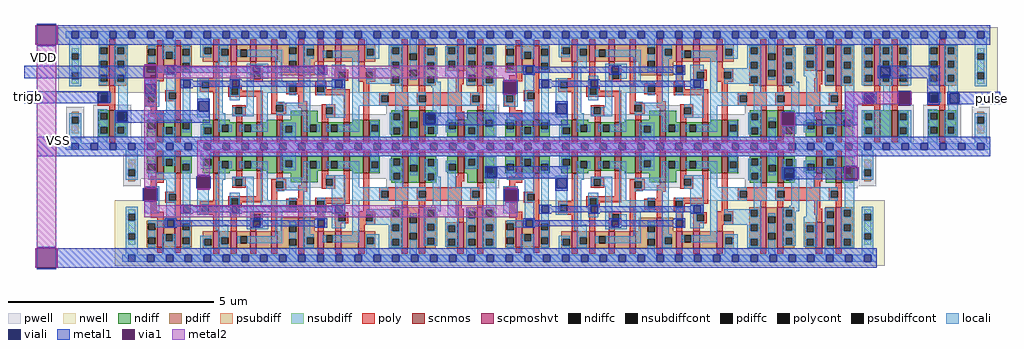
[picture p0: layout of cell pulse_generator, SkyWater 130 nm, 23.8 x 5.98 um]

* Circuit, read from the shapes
.subckt pulse_generator VDD VSS clk pulse trigb
XM1 sky130_fd_sc_hd__dfxbp_1_0/D trigb VSS VSS sky130_fd_pr__nfet_01v8 w=0.65 l=0.15
XM2 VSS clk n1 VSS sky130_fd_pr__nfet_01v8 w=0.42 l=0.15
XM3 VSS clk n2 VSS sky130_fd_pr__nfet_01v8 w=0.42 l=0.15
XM4 n3 n1 VSS VSS sky130_fd_pr__nfet_01v8 w=0.42 l=0.15
XM5 n4 n2 VSS VSS sky130_fd_pr__nfet_01v8 w=0.42 l=0.15
XM6 n5 sky130_fd_sc_hd__nand2_1_0/A VSS VSS sky130_fd_pr__nfet_01v8 w=0.42 l=0.15
XM7 n6 sky130_fd_sc_hd__dfxbp_1_0/D VSS VSS sky130_fd_pr__nfet_01v8 w=0.42 l=0.15
XM8 n7 n1 n5 VSS sky130_fd_pr__nfet_01v8 w=0.36 l=0.15
XM9 n8 n2 n6 VSS sky130_fd_pr__nfet_01v8 w=0.36 l=0.15
XM10 n9 n3 n7 VSS sky130_fd_pr__nfet_01v8 w=0.36 l=0.15
XM11 n10 n4 n8 VSS sky130_fd_pr__nfet_01v8 w=0.36 l=0.15
XM12 VSS n11 n9 VSS sky130_fd_pr__nfet_01v8 w=0.42 l=0.15
XM13 VSS n12 n10 VSS sky130_fd_pr__nfet_01v8 w=0.42 l=0.15
XM14 n11 n7 VSS VSS sky130_fd_pr__nfet_01v8 w=0.64 l=0.15
XM15 n12 n8 VSS VSS sky130_fd_pr__nfet_01v8 w=0.64 l=0.15
XM16 n13 n3 n11 VSS sky130_fd_pr__nfet_01v8 w=0.36 l=0.15
XM17 n14 n4 n12 VSS sky130_fd_pr__nfet_01v8 w=0.36 l=0.15
XM18 n15 n1 n13 VSS sky130_fd_pr__nfet_01v8 w=0.36 l=0.15
XM19 n16 n2 n14 VSS sky130_fd_pr__nfet_01v8 w=0.36 l=0.15
XM20 VSS n17 n15 VSS sky130_fd_pr__nfet_01v8 w=0.42 l=0.15
XM21 VSS n18 n16 VSS sky130_fd_pr__nfet_01v8 w=0.42 l=0.15
XM22 VSS n13 n17 VSS sky130_fd_pr__nfet_01v8 w=0.65 l=0.15
XM23 VSS n14 n18 VSS sky130_fd_pr__nfet_01v8 w=0.65 l=0.15
XM24 sky130_fd_sc_hd__dfxbp_1_2/Q n17 VSS VSS sky130_fd_pr__nfet_01v8 w=0.65 l=0.15
XM25 sky130_fd_sc_hd__dfxbp_1_1/D n18 VSS VSS sky130_fd_pr__nfet_01v8 w=0.65 l=0.15
XM26 VSS n17 n19 VSS sky130_fd_pr__nfet_01v8 w=0.42 l=0.15
XM27 VSS n18 n20 VSS sky130_fd_pr__nfet_01v8 w=0.42 l=0.15
XM28 sky130_fd_sc_hd__dfxbp_1_3/D n19 VSS VSS sky130_fd_pr__nfet_01v8 w=0.65 l=0.15
XM29 sky130_fd_sc_hd__dfxbp_1_0/Q_N n20 VSS VSS sky130_fd_pr__nfet_01v8 w=0.65 l=0.15
XM30 VSS clk n21 VSS sky130_fd_pr__nfet_01v8 w=0.42 l=0.15
XM31 VSS clk n22 VSS sky130_fd_pr__nfet_01v8 w=0.42 l=0.15
XM32 n23 n21 VSS VSS sky130_fd_pr__nfet_01v8 w=0.42 l=0.15
XM33 n24 n22 VSS VSS sky130_fd_pr__nfet_01v8 w=0.42 l=0.15
XM34 n25 sky130_fd_sc_hd__dfxbp_1_3/D VSS VSS sky130_fd_pr__nfet_01v8 w=0.42 l=0.15
XM35 n26 sky130_fd_sc_hd__dfxbp_1_1/D VSS VSS sky130_fd_pr__nfet_01v8 w=0.42 l=0.15
XM36 n27 n21 n25 VSS sky130_fd_pr__nfet_01v8 w=0.36 l=0.15
XM37 n28 n22 n26 VSS sky130_fd_pr__nfet_01v8 w=0.36 l=0.15
XM38 n29 n23 n27 VSS sky130_fd_pr__nfet_01v8 w=0.36 l=0.15
XM39 n30 n24 n28 VSS sky130_fd_pr__nfet_01v8 w=0.36 l=0.15
XM40 VSS n31 n29 VSS sky130_fd_pr__nfet_01v8 w=0.42 l=0.15
XM41 VSS n32 n30 VSS sky130_fd_pr__nfet_01v8 w=0.42 l=0.15
XM42 n31 n27 VSS VSS sky130_fd_pr__nfet_01v8 w=0.64 l=0.15
XM43 n32 n28 VSS VSS sky130_fd_pr__nfet_01v8 w=0.64 l=0.15
XM44 n33 n23 n31 VSS sky130_fd_pr__nfet_01v8 w=0.36 l=0.15
XM45 n34 n24 n32 VSS sky130_fd_pr__nfet_01v8 w=0.36 l=0.15
XM46 n35 n21 n33 VSS sky130_fd_pr__nfet_01v8 w=0.36 l=0.15
XM47 n36 n22 n34 VSS sky130_fd_pr__nfet_01v8 w=0.36 l=0.15
XM48 VSS n37 n35 VSS sky130_fd_pr__nfet_01v8 w=0.42 l=0.15
XM49 VSS n38 n36 VSS sky130_fd_pr__nfet_01v8 w=0.42 l=0.15
XM50 VSS n33 n37 VSS sky130_fd_pr__nfet_01v8 w=0.65 l=0.15
XM51 VSS n34 n38 VSS sky130_fd_pr__nfet_01v8 w=0.65 l=0.15
XM52 sky130_fd_sc_hd__nand2_1_0/B n37 VSS VSS sky130_fd_pr__nfet_01v8 w=0.65 l=0.15
XM53 sky130_fd_sc_hd__nand2_1_0/A n38 VSS VSS sky130_fd_pr__nfet_01v8 w=0.65 l=0.15
XM54 VSS n37 n39 VSS sky130_fd_pr__nfet_01v8 w=0.42 l=0.15
XM55 VSS n38 n40 VSS sky130_fd_pr__nfet_01v8 w=0.42 l=0.15
XM56 sky130_fd_sc_hd__dfxbp_1_3/Q_N n39 VSS VSS sky130_fd_pr__nfet_01v8 w=0.65 l=0.15
XM57 sky130_fd_sc_hd__dfxbp_1_1/Q_N n40 VSS VSS sky130_fd_pr__nfet_01v8 w=0.65 l=0.15
XM58 n41 sky130_fd_sc_hd__nand2_1_0/A sky130_fd_sc_hd__inv_1_1/A VSS sky130_fd_pr__nfet_01v8 w=0.65 l=0.15
XM59 VSS sky130_fd_sc_hd__nand2_1_0/B n41 VSS sky130_fd_pr__nfet_01v8 w=0.65 l=0.15
XM60 pulse sky130_fd_sc_hd__inv_1_1/A VSS VSS sky130_fd_pr__nfet_01v8 w=0.65 l=0.15
XM61 sky130_fd_sc_hd__dfxbp_1_0/D trigb VDD VDD sky130_fd_pr__pfet_01v8_hvt w=1 l=0.15
XM62 VDD clk n1 VDD sky130_fd_pr__pfet_01v8_hvt w=0.64 l=0.15
XM63 VDD clk n2 VDD sky130_fd_pr__pfet_01v8_hvt w=0.64 l=0.15
XM64 n3 n1 VDD VDD sky130_fd_pr__pfet_01v8_hvt w=0.64 l=0.15
XM65 n4 n2 VDD VDD sky130_fd_pr__pfet_01v8_hvt w=0.64 l=0.15
XM66 n5 sky130_fd_sc_hd__nand2_1_0/A VDD VDD sky130_fd_pr__pfet_01v8_hvt w=0.42 l=0.15
XM67 n6 sky130_fd_sc_hd__dfxbp_1_0/D VDD VDD sky130_fd_pr__pfet_01v8_hvt w=0.42 l=0.15
XM68 n7 n3 n5 VDD sky130_fd_pr__pfet_01v8_hvt w=0.42 l=0.15
XM69 n8 n4 n6 VDD sky130_fd_pr__pfet_01v8_hvt w=0.42 l=0.15
XM70 n42 n1 n7 VDD sky130_fd_pr__pfet_01v8_hvt w=0.42 l=0.15
XM71 n43 n2 n8 VDD sky130_fd_pr__pfet_01v8_hvt w=0.42 l=0.15
XM72 VDD n11 n42 VDD sky130_fd_pr__pfet_01v8_hvt w=0.42 l=0.15
XM73 VDD n12 n43 VDD sky130_fd_pr__pfet_01v8_hvt w=0.42 l=0.15
XM74 n11 n7 VDD VDD sky130_fd_pr__pfet_01v8_hvt w=0.75 l=0.15
XM75 n12 n8 VDD VDD sky130_fd_pr__pfet_01v8_hvt w=0.75 l=0.15
XM76 n13 n1 n11 VDD sky130_fd_pr__pfet_01v8_hvt w=0.42 l=0.15
XM77 n14 n2 n12 VDD sky130_fd_pr__pfet_01v8_hvt w=0.42 l=0.15
XM78 n44 n3 n13 VDD sky130_fd_pr__pfet_01v8_hvt w=0.42 l=0.15
XM79 n45 n4 n14 VDD sky130_fd_pr__pfet_01v8_hvt w=0.42 l=0.15
XM80 VDD n17 n44 VDD sky130_fd_pr__pfet_01v8_hvt w=0.42 l=0.15
XM81 VDD n18 n45 VDD sky130_fd_pr__pfet_01v8_hvt w=0.42 l=0.15
XM82 VDD n13 n17 VDD sky130_fd_pr__pfet_01v8_hvt w=1 l=0.15
XM83 VDD n14 n18 VDD sky130_fd_pr__pfet_01v8_hvt w=1 l=0.15
XM84 sky130_fd_sc_hd__dfxbp_1_2/Q n17 VDD VDD sky130_fd_pr__pfet_01v8_hvt w=1 l=0.15
XM85 sky130_fd_sc_hd__dfxbp_1_1/D n18 VDD VDD sky130_fd_pr__pfet_01v8_hvt w=1 l=0.15
XM86 VDD n17 n19 VDD sky130_fd_pr__pfet_01v8_hvt w=0.64 l=0.15
XM87 VDD n18 n20 VDD sky130_fd_pr__pfet_01v8_hvt w=0.64 l=0.15
XM88 sky130_fd_sc_hd__dfxbp_1_3/D n19 VDD VDD sky130_fd_pr__pfet_01v8_hvt w=1 l=0.15
XM89 sky130_fd_sc_hd__dfxbp_1_0/Q_N n20 VDD VDD sky130_fd_pr__pfet_01v8_hvt w=1 l=0.15
XM90 VDD clk n21 VDD sky130_fd_pr__pfet_01v8_hvt w=0.64 l=0.15
XM91 VDD clk n22 VDD sky130_fd_pr__pfet_01v8_hvt w=0.64 l=0.15
XM92 n23 n21 VDD VDD sky130_fd_pr__pfet_01v8_hvt w=0.64 l=0.15
XM93 n24 n22 VDD VDD sky130_fd_pr__pfet_01v8_hvt w=0.64 l=0.15
XM94 n25 sky130_fd_sc_hd__dfxbp_1_3/D VDD VDD sky130_fd_pr__pfet_01v8_hvt w=0.42 l=0.15
XM95 n26 sky130_fd_sc_hd__dfxbp_1_1/D VDD VDD sky130_fd_pr__pfet_01v8_hvt w=0.42 l=0.15
XM96 n27 n23 n25 VDD sky130_fd_pr__pfet_01v8_hvt w=0.42 l=0.15
XM97 n28 n24 n26 VDD sky130_fd_pr__pfet_01v8_hvt w=0.42 l=0.15
XM98 n46 n21 n27 VDD sky130_fd_pr__pfet_01v8_hvt w=0.42 l=0.15
XM99 n47 n22 n28 VDD sky130_fd_pr__pfet_01v8_hvt w=0.42 l=0.15
XM100 VDD n31 n46 VDD sky130_fd_pr__pfet_01v8_hvt w=0.42 l=0.15
XM101 VDD n32 n47 VDD sky130_fd_pr__pfet_01v8_hvt w=0.42 l=0.15
XM102 n31 n27 VDD VDD sky130_fd_pr__pfet_01v8_hvt w=0.75 l=0.15
XM103 n32 n28 VDD VDD sky130_fd_pr__pfet_01v8_hvt w=0.75 l=0.15
XM104 n33 n21 n31 VDD sky130_fd_pr__pfet_01v8_hvt w=0.42 l=0.15
XM105 n34 n22 n32 VDD sky130_fd_pr__pfet_01v8_hvt w=0.42 l=0.15
XM106 n48 n23 n33 VDD sky130_fd_pr__pfet_01v8_hvt w=0.42 l=0.15
XM107 n49 n24 n34 VDD sky130_fd_pr__pfet_01v8_hvt w=0.42 l=0.15
XM108 VDD n37 n48 VDD sky130_fd_pr__pfet_01v8_hvt w=0.42 l=0.15
XM109 VDD n38 n49 VDD sky130_fd_pr__pfet_01v8_hvt w=0.42 l=0.15
XM110 VDD n33 n37 VDD sky130_fd_pr__pfet_01v8_hvt w=1 l=0.15
XM111 VDD n34 n38 VDD sky130_fd_pr__pfet_01v8_hvt w=1 l=0.15
XM112 sky130_fd_sc_hd__nand2_1_0/B n37 VDD VDD sky130_fd_pr__pfet_01v8_hvt w=1 l=0.15
XM113 sky130_fd_sc_hd__nand2_1_0/A n38 VDD VDD sky130_fd_pr__pfet_01v8_hvt w=1 l=0.15
XM114 VDD n37 n39 VDD sky130_fd_pr__pfet_01v8_hvt w=0.64 l=0.15
XM115 VDD n38 n40 VDD sky130_fd_pr__pfet_01v8_hvt w=0.64 l=0.15
XM116 sky130_fd_sc_hd__dfxbp_1_3/Q_N n39 VDD VDD sky130_fd_pr__pfet_01v8_hvt w=1 l=0.15
XM117 sky130_fd_sc_hd__dfxbp_1_1/Q_N n40 VDD VDD sky130_fd_pr__pfet_01v8_hvt w=1 l=0.15
XM118 sky130_fd_sc_hd__inv_1_1/A sky130_fd_sc_hd__nand2_1_0/A VDD VDD sky130_fd_pr__pfet_01v8_hvt w=1 l=0.15
XM119 VDD sky130_fd_sc_hd__nand2_1_0/B sky130_fd_sc_hd__inv_1_1/A VDD sky130_fd_pr__pfet_01v8_hvt w=1 l=0.15
XM120 pulse sky130_fd_sc_hd__inv_1_1/A VDD VDD sky130_fd_pr__pfet_01v8_hvt w=1 l=0.15
.ends

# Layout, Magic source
magic
tech sky130A
<< viali >>
rect 2052 206 2076 230
rect 144 144 168 168
rect 260 164 284 188
rect 1137 168 1161 192
rect 390 122 414 146
rect 2013 142 2037 166
rect 2099 142 2123 166
rect 2170 144 2194 168
rect 2221 142 2245 166
rect 192 97 216 121
rect 1263 116 1287 140
rect 943 91 967 115
rect 1817 91 1841 115
rect 1093 -39 1117 -15
rect 390 -63 414 -39
rect 1818 -41 1842 -17
rect 1263 -66 1287 -42
rect 260 -93 284 -69
rect 1140 -95 1164 -71
<< metal1 >>
rect -5 332 43 335
rect 43 284 66 332
rect -5 281 43 284
rect -36 203 257 233
rect 287 203 290 233
rect 2046 230 2197 233
rect 2046 206 2052 230
rect 2076 206 2197 230
rect 2046 203 2197 206
rect 257 188 287 203
rect 1134 195 1164 198
rect -36 168 174 171
rect -36 144 144 168
rect 168 144 174 168
rect 257 164 260 188
rect 284 164 287 188
rect 1131 165 1134 195
rect 1164 165 1167 195
rect 2096 169 2126 172
rect 1967 166 2043 169
rect 257 158 287 164
rect 1134 162 1164 165
rect -36 141 174 144
rect 387 146 417 152
rect 387 124 390 146
rect 186 122 390 124
rect 414 122 417 146
rect 186 121 417 122
rect 186 97 192 121
rect 216 97 417 121
rect 1260 140 1290 146
rect 1260 118 1263 140
rect 186 94 417 97
rect 937 116 1263 118
rect 1287 116 1290 140
rect 1967 142 2013 166
rect 2037 142 2043 166
rect 1967 139 2043 142
rect 2093 139 2096 169
rect 2126 139 2129 169
rect 2167 168 2197 203
rect 2167 144 2170 168
rect 2194 144 2197 168
rect 1812 118 1842 121
rect 1967 118 1997 139
rect 2096 136 2126 139
rect 2167 138 2197 144
rect 2215 166 2344 169
rect 2215 142 2221 166
rect 2245 142 2344 166
rect 2215 139 2344 142
rect 937 115 1290 116
rect 937 91 943 115
rect 967 91 1290 115
rect 937 88 1290 91
rect 1811 88 1812 118
rect 1842 88 1997 118
rect 1812 85 1842 88
rect -5 12 116 60
rect 1087 -15 1290 -12
rect 1967 -14 1997 -11
rect 387 -36 417 -33
rect 257 -66 287 -63
rect 384 -66 387 -36
rect 417 -66 420 -36
rect 1087 -39 1093 -15
rect 1117 -39 1290 -15
rect 1087 -42 1290 -39
rect 254 -96 257 -66
rect 287 -96 290 -66
rect 387 -69 417 -66
rect 1137 -68 1167 -65
rect 1260 -66 1263 -42
rect 1287 -66 1290 -42
rect 1812 -17 1967 -14
rect 1812 -41 1818 -17
rect 1842 -41 1967 -17
rect 1812 -44 1967 -41
rect 1967 -47 1997 -44
rect 257 -99 287 -96
rect 1134 -98 1137 -68
rect 1167 -98 1170 -68
rect 1260 -72 1290 -66
rect 1137 -101 1167 -98
rect -5 -212 43 -209
rect 43 -260 240 -212
rect -5 -263 43 -260
<< via1 >>
rect -5 284 43 332
rect 257 203 287 233
rect 1134 192 1164 195
rect 1134 168 1137 192
rect 1137 168 1161 192
rect 1161 168 1164 192
rect 1134 165 1164 168
rect 2096 166 2126 169
rect 2096 142 2099 166
rect 2099 142 2123 166
rect 2123 142 2126 166
rect 2096 139 2126 142
rect 1812 115 1842 118
rect 1812 91 1817 115
rect 1817 91 1841 115
rect 1841 91 1842 115
rect 1812 88 1842 91
rect 387 -39 417 -36
rect 387 -63 390 -39
rect 390 -63 414 -39
rect 414 -63 417 -39
rect 387 -66 417 -63
rect 257 -69 287 -66
rect 257 -93 260 -69
rect 260 -93 284 -69
rect 284 -93 287 -69
rect 257 -96 287 -93
rect 1967 -44 1997 -14
rect 1137 -71 1167 -68
rect 1137 -95 1140 -71
rect 1140 -95 1164 -71
rect 1164 -95 1167 -71
rect 1137 -98 1167 -95
rect -5 -260 43 -212
<< metal2 >>
rect -8 284 -5 332
rect 43 284 46 332
rect -5 -212 43 284
rect 257 233 287 236
rect 255 203 257 233
rect 287 203 1166 233
rect 257 -66 287 203
rect 1134 195 1164 203
rect 1134 162 1164 165
rect 1967 139 2096 169
rect 2126 139 2129 169
rect 1809 88 1812 118
rect 1842 88 1845 118
rect 1812 51 1842 88
rect 387 21 1842 51
rect 387 -36 417 21
rect 1967 -14 1997 139
rect 1964 -44 1967 -14
rect 1997 -44 2000 -14
rect 387 -69 417 -66
rect 1137 -68 1167 -65
rect 257 -107 287 -96
rect 1137 -107 1167 -98
rect 257 -137 1167 -107
rect -8 -260 -5 -212
rect 43 -260 46 -212
use sky130_fd_sc_hd__inv_1  sky130_fd_sc_hd__inv_1_0 ~/PDKS/sky130A/libs.ref/sky130_fd_sc_hd/mag
transform 1 0 112 0 1 36
box -19 -24 157 296
use sky130_fd_sc_hd__tapvpwrvgnd_1  sky130_fd_sc_hd__tapvpwrvgnd_1_1 ~/PDKS/sky130A/libs.ref/sky130_fd_sc_hd/mag
transform 1 0 204 0 -1 36
box -19 -24 65 296
use sky130_fd_sc_hd__tapvpwrvgnd_1  sky130_fd_sc_hd__tapvpwrvgnd_1_2
transform 1 0 66 0 1 36
box -19 -24 65 296
use sky130_fd_sc_hd__dfxbp_1  sky130_fd_sc_hd__dfxbp_1_2 ~/PDKS/sky130A/libs.ref/sky130_fd_sc_hd/mag
transform 1 0 250 0 -1 36
box -19 -24 893 296
use sky130_fd_sc_hd__dfxbp_1  sky130_fd_sc_hd__dfxbp_1_0
transform 1 0 250 0 1 36
box -19 -24 893 296
use sky130_fd_sc_hd__dfxbp_1  sky130_fd_sc_hd__dfxbp_1_3
transform 1 0 1124 0 -1 36
box -19 -24 893 296
use sky130_fd_sc_hd__dfxbp_1  sky130_fd_sc_hd__dfxbp_1_1
transform 1 0 1124 0 1 36
box -19 -24 893 296
use sky130_fd_sc_hd__inv_1  sky130_fd_sc_hd__inv_1_1
transform 1 0 2136 0 1 36
box -19 -24 157 296
use sky130_fd_sc_hd__nand2_1  sky130_fd_sc_hd__nand2_1_0 ~/PDKS/sky130A/libs.ref/sky130_fd_sc_hd/mag
transform -1 0 2136 0 1 36
box -19 -24 157 296
use sky130_fd_sc_hd__tapvpwrvgnd_1  sky130_fd_sc_hd__tapvpwrvgnd_1_0
transform 1 0 1998 0 -1 36
box -19 -24 65 296
use sky130_fd_sc_hd__tapvpwrvgnd_1  sky130_fd_sc_hd__tapvpwrvgnd_1_3
transform 1 0 2274 0 1 36
box -19 -24 65 296
<< labels >>
flabel metal2 10 251 13 253 1 FreeSans 240 0 0 0 VDD
flabel metal1 47 50 48 52 1 FreeSans 240 0 0 0 VSS
flabel metal1 -26 155 -22 159 1 FreeSans 240 0 0 0 trigb
flabel metal1 -26 217 -21 221 1 FreeSans 240 0 0 0 clk
flabel metal1 2322 152 2325 154 1 FreeSans 240 0 0 0 pulse
<< end >>

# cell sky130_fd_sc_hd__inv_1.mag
magic
tech sky130A
magscale 1 2
<< nwell >>
rect -38 261 314 582
<< pwell >>
rect 42 21 228 203
rect 42 17 63 21
rect 29 -17 63 17
<< scnmos >>
rect 120 47 150 177
<< scpmoshvt >>
rect 120 297 150 497
<< ndiff >>
rect 68 165 120 177
rect 68 131 76 165
rect 110 131 120 165
rect 68 97 120 131
rect 68 63 76 97
rect 110 63 120 97
rect 68 47 120 63
rect 150 165 202 177
rect 150 131 160 165
rect 194 131 202 165
rect 150 97 202 131
rect 150 63 160 97
rect 194 63 202 97
rect 150 47 202 63
<< pdiff >>
rect 68 485 120 497
rect 68 451 76 485
rect 110 451 120 485
rect 68 417 120 451
rect 68 383 76 417
rect 110 383 120 417
rect 68 349 120 383
rect 68 315 76 349
rect 110 315 120 349
rect 68 297 120 315
rect 150 485 202 497
rect 150 451 160 485
rect 194 451 202 485
rect 150 417 202 451
rect 150 383 160 417
rect 194 383 202 417
rect 150 349 202 383
rect 150 315 160 349
rect 194 315 202 349
rect 150 297 202 315
<< ndiffc >>
rect 76 131 110 165
rect 76 63 110 97
rect 160 131 194 165
rect 160 63 194 97
<< pdiffc >>
rect 76 451 110 485
rect 76 383 110 417
rect 76 315 110 349
rect 160 451 194 485
rect 160 383 194 417
rect 160 315 194 349
<< poly >>
rect 120 497 150 523
rect 120 265 150 297
rect 64 249 150 265
rect 64 215 80 249
rect 114 215 150 249
rect 64 199 150 215
rect 120 177 150 199
rect 120 21 150 47
<< polycont >>
rect 80 215 114 249
<< locali >>
rect 0 527 29 561
rect 63 527 121 561
rect 155 527 213 561
rect 247 527 276 561
rect 68 485 110 527
rect 68 451 76 485
rect 68 417 110 451
rect 68 383 76 417
rect 68 349 110 383
rect 68 315 76 349
rect 68 299 110 315
rect 144 485 210 493
rect 144 451 160 485
rect 194 451 210 485
rect 144 417 210 451
rect 144 383 160 417
rect 194 383 210 417
rect 144 349 210 383
rect 144 315 160 349
rect 194 315 210 349
rect 144 297 210 315
rect 64 249 130 263
rect 64 215 80 249
rect 114 215 130 249
rect 64 165 110 181
rect 164 177 210 297
rect 64 131 76 165
rect 64 97 110 131
rect 64 63 76 97
rect 64 17 110 63
rect 144 165 210 177
rect 144 131 160 165
rect 194 131 210 165
rect 144 97 210 131
rect 144 63 160 97
rect 194 63 210 97
rect 144 51 210 63
rect 0 -17 29 17
rect 63 -17 121 17
rect 155 -17 213 17
rect 247 -17 276 17
<< viali >>
rect 29 527 63 561
rect 121 527 155 561
rect 213 527 247 561
rect 29 -17 63 17
rect 121 -17 155 17
rect 213 -17 247 17
<< metal1 >>
rect 0 561 276 592
rect 0 527 29 561
rect 63 527 121 561
rect 155 527 213 561
rect 247 527 276 561
rect 0 496 276 527
rect 0 17 276 48
rect 0 -17 29 17
rect 63 -17 121 17
rect 155 -17 213 17
rect 247 -17 276 17
rect 0 -48 276 -17
<< labels >>
flabel locali s 164 289 198 323 0 FreeSans 340 0 0 0 Y
port 6 nsew signal output
flabel locali s 164 221 198 255 0 FreeSans 340 0 0 0 Y
port 6 nsew signal output
flabel locali s 72 221 106 255 0 FreeSans 340 0 0 0 A
port 1 nsew signal input
flabel nwell s 29 527 63 561 0 FreeSans 200 0 0 0 VPB
port 4 nsew power bidirectional
flabel pwell s 29 -17 63 17 0 FreeSans 200 0 0 0 VNB
port 3 nsew ground bidirectional
flabel metal1 s 29 -17 63 17 0 FreeSans 200 0 0 0 VGND
port 2 nsew ground bidirectional abutment
flabel metal1 s 29 527 63 561 0 FreeSans 200 0 0 0 VPWR
port 5 nsew power bidirectional abutment
rlabel comment s 0 0 0 0 4 inv_1
<< properties >>
string LEFsite unithd
string LEFclass CORE
string FIXED_BBOX 0 0 276 544
string GDS_FILE $PDKPATH/libs.ref/sky130_fd_sc_hd/gds/sky130_fd_sc_hd.gds
string LEFsymmetry X Y R90
string GDS_END 27172
string GDS_START 23678
string path 0.000 0.000 1.380 0.000 
<< end >>

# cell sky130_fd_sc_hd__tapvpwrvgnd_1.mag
magic
tech sky130A
magscale 1 2
<< nwell >>
rect -38 261 130 582
<< pwell >>
rect 3 38 89 195
<< psubdiff >>
rect 29 145 63 169
rect 29 64 63 111
<< nsubdiff >>
rect 29 456 63 480
rect 29 363 63 422
rect 29 305 63 329
<< psubdiffcont >>
rect 29 111 63 145
<< nsubdiffcont >>
rect 29 422 63 456
rect 29 329 63 363
<< locali >>
rect 0 527 29 561
rect 63 527 92 561
rect 17 456 75 527
rect 17 422 29 456
rect 63 422 75 456
rect 17 363 75 422
rect 17 329 29 363
rect 63 329 75 363
rect 17 294 75 329
rect 17 145 75 162
rect 17 111 29 145
rect 63 111 75 145
rect 17 17 75 111
rect 0 -17 29 17
rect 63 -17 92 17
<< viali >>
rect 29 527 63 561
rect 29 -17 63 17
<< metal1 >>
rect 0 561 92 592
rect 0 527 29 561
rect 63 527 92 561
rect 0 496 92 527
rect 0 17 92 48
rect 0 -17 29 17
rect 63 -17 92 17
rect 0 -48 92 -17
<< labels >>
flabel metal1 s 22 524 75 553 0 FreeSans 200 0 0 0 VPWR
port 2 nsew power bidirectional abutment
flabel metal1 s 21 -18 72 20 0 FreeSans 200 0 0 0 VGND
port 1 nsew ground bidirectional abutment
rlabel comment s 0 0 0 0 4 tapvpwrvgnd_1
<< properties >>
string LEFsite unithd
string LEFclass CORE WELLTAP
string FIXED_BBOX 0 0 92 544
string GDS_FILE $PDKPATH/libs.ref/sky130_fd_sc_hd/gds/sky130_fd_sc_hd.gds
string LEFsymmetry X Y R90
string GDS_END 65542
string GDS_START 63922
string MASKHINTS_PSDM 0 38 92 196
string MASKHINTS_NSDM 0 280 92 506
<< end >>

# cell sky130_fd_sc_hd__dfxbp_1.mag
magic
tech sky130A
magscale 1 2
<< nwell >>
rect -38 261 1786 582
<< pwell >>
rect 704 157 886 201
rect 1194 157 1747 203
rect 1 21 1747 157
rect 29 -17 63 21
<< scnmos >>
rect 79 47 109 131
rect 163 47 193 131
rect 351 47 381 131
rect 463 47 493 119
rect 562 47 592 119
rect 661 47 691 131
rect 780 47 810 175
rect 881 47 911 119
rect 987 47 1017 119
rect 1082 47 1112 131
rect 1272 47 1302 177
rect 1356 47 1386 177
rect 1544 47 1574 131
rect 1639 47 1669 177
<< scpmoshvt >>
rect 79 363 109 491
rect 163 363 193 491
rect 351 413 381 497
rect 436 413 466 497
rect 531 413 561 497
rect 634 413 664 497
rect 766 347 796 497
rect 861 413 891 497
rect 945 413 975 497
rect 1059 413 1089 497
rect 1270 297 1300 497
rect 1354 297 1384 497
rect 1542 369 1572 497
rect 1639 297 1669 497
<< ndiff >>
rect 27 119 79 131
rect 27 85 35 119
rect 69 85 79 119
rect 27 47 79 85
rect 109 93 163 131
rect 109 59 119 93
rect 153 59 163 93
rect 109 47 163 59
rect 193 119 245 131
rect 193 85 203 119
rect 237 85 245 119
rect 193 47 245 85
rect 299 93 351 131
rect 299 59 307 93
rect 341 59 351 93
rect 299 47 351 59
rect 381 119 431 131
rect 730 131 780 175
rect 611 119 661 131
rect 381 107 463 119
rect 381 73 392 107
rect 426 73 463 107
rect 381 47 463 73
rect 493 107 562 119
rect 493 73 503 107
rect 537 73 562 107
rect 493 47 562 73
rect 592 47 661 119
rect 691 101 780 131
rect 691 67 702 101
rect 736 67 780 101
rect 691 47 780 67
rect 810 119 860 175
rect 1220 162 1272 177
rect 1032 119 1082 131
rect 810 107 881 119
rect 810 73 821 107
rect 855 73 881 107
rect 810 47 881 73
rect 911 107 987 119
rect 911 73 924 107
rect 958 73 987 107
rect 911 47 987 73
rect 1017 47 1082 119
rect 1112 107 1164 131
rect 1112 73 1122 107
rect 1156 73 1164 107
rect 1112 47 1164 73
rect 1220 128 1228 162
rect 1262 128 1272 162
rect 1220 94 1272 128
rect 1220 60 1228 94
rect 1262 60 1272 94
rect 1220 47 1272 60
rect 1302 123 1356 177
rect 1302 89 1312 123
rect 1346 89 1356 123
rect 1302 47 1356 89
rect 1386 164 1438 177
rect 1386 130 1396 164
rect 1430 130 1438 164
rect 1589 131 1639 177
rect 1386 96 1438 130
rect 1386 62 1396 96
rect 1430 62 1438 96
rect 1386 47 1438 62
rect 1492 119 1544 131
rect 1492 85 1500 119
rect 1534 85 1544 119
rect 1492 47 1544 85
rect 1574 93 1639 131
rect 1574 59 1595 93
rect 1629 59 1639 93
rect 1574 47 1639 59
rect 1669 131 1721 177
rect 1669 97 1679 131
rect 1713 97 1721 131
rect 1669 47 1721 97
<< pdiff >>
rect 27 477 79 491
rect 27 443 35 477
rect 69 443 79 477
rect 27 409 79 443
rect 27 375 35 409
rect 69 375 79 409
rect 27 363 79 375
rect 109 461 163 491
rect 109 427 119 461
rect 153 427 163 461
rect 109 363 163 427
rect 193 477 245 491
rect 193 443 203 477
rect 237 443 245 477
rect 193 409 245 443
rect 299 485 351 497
rect 299 451 307 485
rect 341 451 351 485
rect 299 413 351 451
rect 381 477 436 497
rect 381 443 391 477
rect 425 443 436 477
rect 381 413 436 443
rect 466 472 531 497
rect 466 438 483 472
rect 517 438 531 472
rect 466 413 531 438
rect 561 413 634 497
rect 664 485 766 497
rect 664 451 722 485
rect 756 451 766 485
rect 664 417 766 451
rect 664 413 722 417
rect 193 375 203 409
rect 237 375 245 409
rect 193 363 245 375
rect 679 383 722 413
rect 756 383 766 417
rect 679 347 766 383
rect 796 477 861 497
rect 796 443 806 477
rect 840 443 861 477
rect 796 413 861 443
rect 891 467 945 497
rect 891 433 901 467
rect 935 433 945 467
rect 891 413 945 433
rect 975 413 1059 497
rect 1089 477 1142 497
rect 1089 443 1100 477
rect 1134 443 1142 477
rect 1089 413 1142 443
rect 1216 485 1270 497
rect 1216 451 1224 485
rect 1258 451 1270 485
rect 1216 414 1270 451
rect 796 347 846 413
rect 1216 380 1224 414
rect 1258 380 1270 414
rect 1216 343 1270 380
rect 1216 309 1224 343
rect 1258 309 1270 343
rect 1216 297 1270 309
rect 1300 455 1354 497
rect 1300 421 1310 455
rect 1344 421 1354 455
rect 1300 375 1354 421
rect 1300 341 1310 375
rect 1344 341 1354 375
rect 1300 297 1354 341
rect 1384 479 1436 497
rect 1384 445 1394 479
rect 1428 445 1436 479
rect 1384 411 1436 445
rect 1384 377 1394 411
rect 1428 377 1436 411
rect 1384 343 1436 377
rect 1490 485 1542 497
rect 1490 451 1498 485
rect 1532 451 1542 485
rect 1490 417 1542 451
rect 1490 383 1498 417
rect 1532 383 1542 417
rect 1490 369 1542 383
rect 1572 485 1639 497
rect 1572 451 1595 485
rect 1629 451 1639 485
rect 1572 417 1639 451
rect 1572 383 1595 417
rect 1629 383 1639 417
rect 1572 369 1639 383
rect 1384 309 1394 343
rect 1428 309 1436 343
rect 1384 297 1436 309
rect 1587 349 1639 369
rect 1587 315 1595 349
rect 1629 315 1639 349
rect 1587 297 1639 315
rect 1669 485 1721 497
rect 1669 451 1679 485
rect 1713 451 1721 485
rect 1669 414 1721 451
rect 1669 380 1679 414
rect 1713 380 1721 414
rect 1669 343 1721 380
rect 1669 309 1679 343
rect 1713 309 1721 343
rect 1669 297 1721 309
<< ndiffc >>
rect 35 85 69 119
rect 119 59 153 93
rect 203 85 237 119
rect 307 59 341 93
rect 392 73 426 107
rect 503 73 537 107
rect 702 67 736 101
rect 821 73 855 107
rect 924 73 958 107
rect 1122 73 1156 107
rect 1228 128 1262 162
rect 1228 60 1262 94
rect 1312 89 1346 123
rect 1396 130 1430 164
rect 1396 62 1430 96
rect 1500 85 1534 119
rect 1595 59 1629 93
rect 1679 97 1713 131
<< pdiffc >>
rect 35 443 69 477
rect 35 375 69 409
rect 119 427 153 461
rect 203 443 237 477
rect 307 451 341 485
rect 391 443 425 477
rect 483 438 517 472
rect 722 451 756 485
rect 203 375 237 409
rect 722 383 756 417
rect 806 443 840 477
rect 901 433 935 467
rect 1100 443 1134 477
rect 1224 451 1258 485
rect 1224 380 1258 414
rect 1224 309 1258 343
rect 1310 421 1344 455
rect 1310 341 1344 375
rect 1394 445 1428 479
rect 1394 377 1428 411
rect 1498 451 1532 485
rect 1498 383 1532 417
rect 1595 451 1629 485
rect 1595 383 1629 417
rect 1394 309 1428 343
rect 1595 315 1629 349
rect 1679 451 1713 485
rect 1679 380 1713 414
rect 1679 309 1713 343
<< poly >>
rect 79 491 109 517
rect 163 491 193 517
rect 351 497 381 523
rect 436 497 466 523
rect 531 497 561 523
rect 634 497 664 523
rect 766 497 796 523
rect 861 497 891 523
rect 945 497 975 523
rect 1059 497 1089 523
rect 1270 497 1300 523
rect 1354 497 1384 523
rect 1542 497 1572 523
rect 1639 497 1669 523
rect 79 348 109 363
rect 46 318 109 348
rect 46 265 76 318
rect 163 274 193 363
rect 351 333 381 413
rect 22 249 76 265
rect 22 215 32 249
rect 66 215 76 249
rect 118 264 193 274
rect 286 317 381 333
rect 286 283 296 317
rect 330 283 381 317
rect 436 297 466 413
rect 531 381 561 413
rect 531 365 592 381
rect 531 331 548 365
rect 582 331 592 365
rect 531 315 592 331
rect 286 267 381 283
rect 118 230 134 264
rect 168 230 193 264
rect 118 220 193 230
rect 22 199 76 215
rect 46 176 76 199
rect 46 146 109 176
rect 79 131 109 146
rect 163 131 193 220
rect 351 131 381 267
rect 423 287 489 297
rect 423 253 439 287
rect 473 273 489 287
rect 473 253 592 273
rect 423 243 592 253
rect 443 191 509 201
rect 443 157 459 191
rect 493 157 509 191
rect 443 147 509 157
rect 463 119 493 147
rect 562 119 592 243
rect 634 213 664 413
rect 766 309 796 347
rect 861 315 891 413
rect 945 375 975 413
rect 1059 381 1089 413
rect 944 365 1010 375
rect 944 331 960 365
rect 994 331 1010 365
rect 944 321 1010 331
rect 1059 365 1140 381
rect 1059 331 1096 365
rect 1130 331 1140 365
rect 1059 315 1140 331
rect 706 299 796 309
rect 706 265 722 299
rect 756 265 796 299
rect 706 255 796 265
rect 766 220 796 255
rect 848 299 902 315
rect 848 265 858 299
rect 892 279 902 299
rect 892 265 1017 279
rect 848 249 1017 265
rect 634 203 708 213
rect 634 169 658 203
rect 692 169 708 203
rect 766 190 810 220
rect 780 175 810 190
rect 881 191 945 207
rect 634 159 708 169
rect 661 131 691 159
rect 881 157 901 191
rect 935 157 945 191
rect 881 141 945 157
rect 881 119 911 141
rect 987 119 1017 249
rect 1082 131 1112 315
rect 1542 333 1572 369
rect 1533 303 1572 333
rect 1270 265 1300 297
rect 1354 265 1384 297
rect 1533 265 1563 303
rect 1639 265 1669 297
rect 1160 249 1302 265
rect 1160 215 1170 249
rect 1204 215 1302 249
rect 1160 199 1302 215
rect 1344 249 1563 265
rect 1344 215 1354 249
rect 1388 215 1563 249
rect 1344 199 1563 215
rect 1605 249 1669 265
rect 1605 215 1615 249
rect 1649 215 1669 249
rect 1605 199 1669 215
rect 1272 177 1302 199
rect 1356 177 1386 199
rect 1533 170 1563 199
rect 1639 177 1669 199
rect 1533 146 1574 170
rect 1544 131 1574 146
rect 79 21 109 47
rect 163 21 193 47
rect 351 21 381 47
rect 463 21 493 47
rect 562 21 592 47
rect 661 21 691 47
rect 780 21 810 47
rect 881 21 911 47
rect 987 21 1017 47
rect 1082 21 1112 47
rect 1272 21 1302 47
rect 1356 21 1386 47
rect 1544 21 1574 47
rect 1639 21 1669 47
<< polycont >>
rect 32 215 66 249
rect 296 283 330 317
rect 548 331 582 365
rect 134 230 168 264
rect 439 253 473 287
rect 459 157 493 191
rect 960 331 994 365
rect 1096 331 1130 365
rect 722 265 756 299
rect 858 265 892 299
rect 658 169 692 203
rect 901 157 935 191
rect 1170 215 1204 249
rect 1354 215 1388 249
rect 1615 215 1649 249
<< locali >>
rect 0 527 29 561
rect 63 527 121 561
rect 155 527 213 561
rect 247 527 305 561
rect 339 527 397 561
rect 431 527 489 561
rect 523 527 581 561
rect 615 527 673 561
rect 707 527 765 561
rect 799 527 857 561
rect 891 527 949 561
rect 983 527 1041 561
rect 1075 527 1133 561
rect 1167 527 1225 561
rect 1259 527 1317 561
rect 1351 527 1409 561
rect 1443 527 1501 561
rect 1535 527 1593 561
rect 1627 527 1685 561
rect 1719 527 1748 561
rect 35 477 69 493
rect 35 409 69 443
rect 103 461 169 527
rect 103 427 119 461
rect 153 427 169 461
rect 203 477 240 493
rect 237 443 240 477
rect 203 409 240 443
rect 288 485 341 527
rect 288 451 307 485
rect 288 435 341 451
rect 375 477 425 493
rect 375 443 391 477
rect 722 485 756 527
rect 69 391 168 393
rect 69 375 126 391
rect 35 359 126 375
rect 122 357 126 359
rect 160 357 168 391
rect 18 249 88 325
rect 18 215 32 249
rect 66 215 88 249
rect 18 195 88 215
rect 122 264 168 357
rect 122 230 134 264
rect 122 161 168 230
rect 35 127 168 161
rect 237 375 240 409
rect 375 408 425 443
rect 467 438 483 472
rect 517 438 688 472
rect 203 323 240 375
rect 364 382 425 408
rect 514 391 620 404
rect 203 289 205 323
rect 239 289 240 323
rect 35 119 69 127
rect 203 119 240 289
rect 274 317 330 333
rect 274 283 296 317
rect 274 143 330 283
rect 364 161 398 382
rect 514 357 546 391
rect 580 365 620 391
rect 432 323 480 344
rect 432 289 443 323
rect 477 289 480 323
rect 432 287 480 289
rect 432 253 439 287
rect 473 253 480 287
rect 432 225 480 253
rect 514 191 548 357
rect 582 331 620 365
rect 654 315 688 438
rect 722 417 756 451
rect 722 367 756 383
rect 790 477 840 493
rect 790 443 806 477
rect 1098 477 1161 527
rect 790 427 840 443
rect 885 433 901 467
rect 935 433 1062 467
rect 654 299 756 315
rect 654 297 722 299
rect 364 135 409 161
rect 443 157 459 191
rect 493 157 548 191
rect 443 147 548 157
rect 582 265 722 297
rect 582 263 756 265
rect 35 69 69 85
rect 103 59 119 93
rect 153 59 169 93
rect 237 85 240 119
rect 203 69 240 85
rect 291 93 341 109
rect 103 17 169 59
rect 291 59 307 93
rect 375 107 409 135
rect 582 107 616 263
rect 722 249 756 263
rect 658 213 698 219
rect 790 213 824 427
rect 858 391 896 393
rect 858 357 860 391
rect 894 357 896 391
rect 858 299 896 357
rect 892 265 896 299
rect 858 249 896 265
rect 930 365 994 399
rect 930 331 960 365
rect 930 323 994 331
rect 930 289 947 323
rect 981 289 994 323
rect 658 203 824 213
rect 930 207 994 289
rect 692 169 824 203
rect 658 153 824 169
rect 375 73 392 107
rect 426 73 442 107
rect 481 73 503 107
rect 537 73 616 107
rect 680 101 754 117
rect 291 17 341 59
rect 680 67 702 101
rect 736 67 754 101
rect 790 107 824 153
rect 901 191 994 207
rect 935 157 994 191
rect 901 141 994 157
rect 1028 265 1062 433
rect 1098 443 1100 477
rect 1134 443 1161 477
rect 1098 427 1161 443
rect 1208 485 1276 493
rect 1208 451 1224 485
rect 1258 451 1276 485
rect 1208 414 1276 451
rect 1208 381 1224 414
rect 1096 380 1224 381
rect 1258 380 1276 414
rect 1096 365 1276 380
rect 1130 343 1276 365
rect 1130 331 1224 343
rect 1096 309 1224 331
rect 1258 309 1276 343
rect 1310 455 1344 527
rect 1482 485 1548 489
rect 1310 375 1344 421
rect 1310 325 1344 341
rect 1378 479 1444 484
rect 1378 445 1394 479
rect 1428 445 1444 479
rect 1378 411 1444 445
rect 1378 377 1394 411
rect 1428 377 1444 411
rect 1378 343 1444 377
rect 1482 451 1498 485
rect 1532 451 1548 485
rect 1482 417 1548 451
rect 1482 383 1498 417
rect 1532 383 1548 417
rect 1482 343 1548 383
rect 1096 306 1276 309
rect 1238 265 1276 306
rect 1378 309 1394 343
rect 1428 315 1444 343
rect 1428 309 1460 315
rect 1378 299 1460 309
rect 1413 289 1460 299
rect 1028 249 1204 265
rect 1028 215 1170 249
rect 1028 199 1204 215
rect 1238 249 1388 265
rect 1238 215 1354 249
rect 1238 199 1388 215
rect 1028 107 1062 199
rect 1238 165 1278 199
rect 1422 173 1460 289
rect 1411 165 1460 173
rect 1212 162 1278 165
rect 1212 128 1228 162
rect 1262 128 1278 162
rect 1380 164 1460 165
rect 790 73 821 107
rect 855 73 871 107
rect 905 73 924 107
rect 958 73 1062 107
rect 1117 107 1159 123
rect 1117 73 1122 107
rect 1156 73 1159 107
rect 680 17 754 67
rect 1117 17 1159 73
rect 1212 94 1278 128
rect 1212 60 1228 94
rect 1262 60 1278 94
rect 1312 123 1346 139
rect 1312 17 1346 89
rect 1380 130 1396 164
rect 1430 148 1460 164
rect 1494 265 1548 343
rect 1586 485 1629 527
rect 1586 451 1595 485
rect 1586 417 1629 451
rect 1586 383 1595 417
rect 1586 349 1629 383
rect 1586 315 1595 349
rect 1586 299 1629 315
rect 1663 485 1730 493
rect 1663 451 1679 485
rect 1713 451 1730 485
rect 1663 414 1730 451
rect 1663 380 1679 414
rect 1713 380 1730 414
rect 1663 343 1730 380
rect 1663 309 1679 343
rect 1713 309 1730 343
rect 1663 296 1730 309
rect 1494 249 1649 265
rect 1494 215 1615 249
rect 1494 199 1649 215
rect 1430 130 1446 148
rect 1380 96 1446 130
rect 1494 123 1534 199
rect 1683 182 1730 296
rect 1380 62 1396 96
rect 1430 62 1446 96
rect 1484 119 1534 123
rect 1484 85 1500 119
rect 1679 131 1730 182
rect 1484 69 1534 85
rect 1581 93 1645 109
rect 1380 61 1446 62
rect 1581 59 1595 93
rect 1629 59 1645 93
rect 1581 17 1645 59
rect 1713 97 1730 131
rect 1679 51 1730 97
rect 0 -17 29 17
rect 63 -17 121 17
rect 155 -17 213 17
rect 247 -17 305 17
rect 339 -17 397 17
rect 431 -17 489 17
rect 523 -17 581 17
rect 615 -17 673 17
rect 707 -17 765 17
rect 799 -17 857 17
rect 891 -17 949 17
rect 983 -17 1041 17
rect 1075 -17 1133 17
rect 1167 -17 1225 17
rect 1259 -17 1317 17
rect 1351 -17 1409 17
rect 1443 -17 1501 17
rect 1535 -17 1593 17
rect 1627 -17 1685 17
rect 1719 -17 1748 17
<< viali >>
rect 29 527 63 561
rect 121 527 155 561
rect 213 527 247 561
rect 305 527 339 561
rect 397 527 431 561
rect 489 527 523 561
rect 581 527 615 561
rect 673 527 707 561
rect 765 527 799 561
rect 857 527 891 561
rect 949 527 983 561
rect 1041 527 1075 561
rect 1133 527 1167 561
rect 1225 527 1259 561
rect 1317 527 1351 561
rect 1409 527 1443 561
rect 1501 527 1535 561
rect 1593 527 1627 561
rect 1685 527 1719 561
rect 126 357 160 391
rect 205 289 239 323
rect 546 365 580 391
rect 546 357 548 365
rect 548 357 580 365
rect 443 289 477 323
rect 860 357 894 391
rect 947 289 981 323
rect 29 -17 63 17
rect 121 -17 155 17
rect 213 -17 247 17
rect 305 -17 339 17
rect 397 -17 431 17
rect 489 -17 523 17
rect 581 -17 615 17
rect 673 -17 707 17
rect 765 -17 799 17
rect 857 -17 891 17
rect 949 -17 983 17
rect 1041 -17 1075 17
rect 1133 -17 1167 17
rect 1225 -17 1259 17
rect 1317 -17 1351 17
rect 1409 -17 1443 17
rect 1501 -17 1535 17
rect 1593 -17 1627 17
rect 1685 -17 1719 17
<< metal1 >>
rect 0 561 1748 592
rect 0 527 29 561
rect 63 527 121 561
rect 155 527 213 561
rect 247 527 305 561
rect 339 527 397 561
rect 431 527 489 561
rect 523 527 581 561
rect 615 527 673 561
rect 707 527 765 561
rect 799 527 857 561
rect 891 527 949 561
rect 983 527 1041 561
rect 1075 527 1133 561
rect 1167 527 1225 561
rect 1259 527 1317 561
rect 1351 527 1409 561
rect 1443 527 1501 561
rect 1535 527 1593 561
rect 1627 527 1685 561
rect 1719 527 1748 561
rect 0 496 1748 527
rect 114 391 172 397
rect 114 357 126 391
rect 160 388 172 391
rect 534 391 592 397
rect 534 388 546 391
rect 160 360 546 388
rect 160 357 172 360
rect 114 351 172 357
rect 534 357 546 360
rect 580 388 592 391
rect 848 391 906 397
rect 848 388 860 391
rect 580 360 860 388
rect 580 357 592 360
rect 534 351 592 357
rect 848 357 860 360
rect 894 357 906 391
rect 848 351 906 357
rect 193 323 251 329
rect 193 289 205 323
rect 239 320 251 323
rect 431 323 489 329
rect 431 320 443 323
rect 239 292 443 320
rect 239 289 251 292
rect 193 283 251 289
rect 431 289 443 292
rect 477 320 489 323
rect 935 323 993 329
rect 935 320 947 323
rect 477 292 947 320
rect 477 289 489 292
rect 431 283 489 289
rect 935 289 947 292
rect 981 289 993 323
rect 935 283 993 289
rect 0 17 1748 48
rect 0 -17 29 17
rect 63 -17 121 17
rect 155 -17 213 17
rect 247 -17 305 17
rect 339 -17 397 17
rect 431 -17 489 17
rect 523 -17 581 17
rect 615 -17 673 17
rect 707 -17 765 17
rect 799 -17 857 17
rect 891 -17 949 17
rect 983 -17 1041 17
rect 1075 -17 1133 17
rect 1167 -17 1225 17
rect 1259 -17 1317 17
rect 1351 -17 1409 17
rect 1443 -17 1501 17
rect 1535 -17 1593 17
rect 1627 -17 1685 17
rect 1719 -17 1748 17
rect 0 -48 1748 -17
<< labels >>
flabel metal1 s 29 -17 63 17 0 FreeSans 200 0 0 0 VGND
port 3 nsew ground bidirectional abutment
flabel metal1 s 29 527 63 561 0 FreeSans 200 0 0 0 VPWR
port 6 nsew power bidirectional abutment
flabel locali s 1685 304 1719 338 0 FreeSans 400 0 0 0 Q_N
port 8 nsew signal output
flabel locali s 289 221 323 255 0 FreeSans 200 0 0 0 D
port 2 nsew signal input
flabel locali s 29 221 63 255 0 FreeSans 400 0 0 0 CLK
port 1 nsew clock input
flabel locali s 1390 85 1424 119 0 FreeSans 400 0 0 0 Q
port 7 nsew signal output
flabel pwell s 29 -17 63 17 0 FreeSans 200 0 0 0 VNB
port 4 nsew ground bidirectional
flabel pwell s 46 0 46 0 0 FreeSans 200 0 0 0 VNB
port 4 nsew
flabel nwell s 29 527 63 561 0 FreeSans 200 0 0 0 VPB
port 5 nsew power bidirectional
flabel nwell s 46 544 46 544 0 FreeSans 200 0 0 0 VPB
port 5 nsew
rlabel comment s 0 0 0 0 4 dfxbp_1
<< properties >>
string LEFsite unithd
string LEFclass CORE
string FIXED_BBOX 0 0 1748 544
string GDS_FILE $PDKPATH/libs.ref/sky130_fd_sc_hd/gds/sky130_fd_sc_hd.gds
string LEFsymmetry X Y R90
string GDS_END 1959752
string GDS_START 1945790
string path 0.000 0.000 43.700 0.000 
<< end >>

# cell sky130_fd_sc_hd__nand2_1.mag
magic
tech sky130A
magscale 1 2
<< nwell >>
rect -38 261 314 582
<< pwell >>
rect 5 21 275 203
rect 28 -17 62 21
<< scnmos >>
rect 83 47 113 177
rect 167 47 197 177
<< scpmoshvt >>
rect 83 297 113 497
rect 167 297 197 497
<< ndiff >>
rect 31 161 83 177
rect 31 127 39 161
rect 73 127 83 161
rect 31 93 83 127
rect 31 59 39 93
rect 73 59 83 93
rect 31 47 83 59
rect 113 47 167 177
rect 197 161 249 177
rect 197 127 207 161
rect 241 127 249 161
rect 197 93 249 127
rect 197 59 207 93
rect 241 59 249 93
rect 197 47 249 59
<< pdiff >>
rect 31 485 83 497
rect 31 451 39 485
rect 73 451 83 485
rect 31 417 83 451
rect 31 383 39 417
rect 73 383 83 417
rect 31 349 83 383
rect 31 315 39 349
rect 73 315 83 349
rect 31 297 83 315
rect 113 485 167 497
rect 113 451 123 485
rect 157 451 167 485
rect 113 417 167 451
rect 113 383 123 417
rect 157 383 167 417
rect 113 349 167 383
rect 113 315 123 349
rect 157 315 167 349
rect 113 297 167 315
rect 197 485 249 497
rect 197 451 207 485
rect 241 451 249 485
rect 197 417 249 451
rect 197 383 207 417
rect 241 383 249 417
rect 197 349 249 383
rect 197 315 207 349
rect 241 315 249 349
rect 197 297 249 315
<< ndiffc >>
rect 39 127 73 161
rect 39 59 73 93
rect 207 127 241 161
rect 207 59 241 93
<< pdiffc >>
rect 39 451 73 485
rect 39 383 73 417
rect 39 315 73 349
rect 123 451 157 485
rect 123 383 157 417
rect 123 315 157 349
rect 207 451 241 485
rect 207 383 241 417
rect 207 315 241 349
<< poly >>
rect 83 497 113 523
rect 167 497 197 523
rect 83 265 113 297
rect 21 249 113 265
rect 21 215 36 249
rect 70 215 113 249
rect 21 199 113 215
rect 83 177 113 199
rect 167 265 197 297
rect 167 249 255 265
rect 167 215 204 249
rect 238 215 255 249
rect 167 199 255 215
rect 167 177 197 199
rect 83 21 113 47
rect 167 21 197 47
<< polycont >>
rect 36 215 70 249
rect 204 215 238 249
<< locali >>
rect 0 527 29 561
rect 63 527 121 561
rect 155 527 213 561
rect 247 527 276 561
rect 17 485 73 527
rect 17 451 39 485
rect 17 417 73 451
rect 17 383 39 417
rect 17 349 73 383
rect 17 315 39 349
rect 17 299 73 315
rect 107 485 173 493
rect 107 451 123 485
rect 157 451 173 485
rect 107 417 173 451
rect 107 383 123 417
rect 157 383 173 417
rect 107 349 173 383
rect 107 315 123 349
rect 157 315 173 349
rect 107 297 173 315
rect 207 485 259 527
rect 241 451 259 485
rect 207 417 259 451
rect 241 383 259 417
rect 207 349 259 383
rect 241 315 259 349
rect 207 299 259 315
rect 19 249 86 265
rect 19 215 36 249
rect 70 215 86 249
rect 19 211 86 215
rect 120 177 154 297
rect 188 249 255 265
rect 188 215 204 249
rect 238 215 255 249
rect 17 161 79 177
rect 17 127 39 161
rect 73 127 79 161
rect 17 93 79 127
rect 17 59 39 93
rect 73 59 79 93
rect 17 17 79 59
rect 120 161 259 177
rect 120 127 207 161
rect 241 127 259 161
rect 120 93 259 127
rect 120 59 207 93
rect 241 59 259 93
rect 120 51 259 59
rect 0 -17 29 17
rect 63 -17 121 17
rect 155 -17 213 17
rect 247 -17 276 17
<< viali >>
rect 29 527 63 561
rect 121 527 155 561
rect 213 527 247 561
rect 29 -17 63 17
rect 121 -17 155 17
rect 213 -17 247 17
<< metal1 >>
rect 0 561 276 592
rect 0 527 29 561
rect 63 527 121 561
rect 155 527 213 561
rect 247 527 276 561
rect 0 496 276 527
rect 0 17 276 48
rect 0 -17 29 17
rect 63 -17 121 17
rect 155 -17 213 17
rect 247 -17 276 17
rect 0 -48 276 -17
<< labels >>
flabel locali s 120 85 154 119 0 FreeSans 250 0 0 0 Y
port 7 nsew signal output
flabel locali s 120 153 154 187 0 FreeSans 250 0 0 0 Y
port 7 nsew signal output
flabel locali s 120 221 154 255 0 FreeSans 250 0 0 0 Y
port 7 nsew signal output
flabel locali s 28 221 62 255 0 FreeSans 250 0 0 0 B
port 2 nsew signal input
flabel locali s 212 221 246 255 0 FreeSans 250 0 0 0 A
port 1 nsew signal input
flabel nwell s 28 527 62 561 0 FreeSans 200 0 0 0 VPB
port 5 nsew power bidirectional
flabel pwell s 28 -17 62 17 0 FreeSans 200 0 0 0 VNB
port 4 nsew ground bidirectional
flabel metal1 s 28 -17 62 17 0 FreeSans 200 0 0 0 VGND
port 3 nsew ground bidirectional abutment
flabel metal1 s 28 527 62 561 0 FreeSans 200 0 0 0 VPWR
port 6 nsew power bidirectional abutment
rlabel comment s 0 0 0 0 4 nand2_1
<< properties >>
string LEFclass CORE
string LEFsite unithd
string FIXED_BBOX 0 0 276 544
string GDS_FILE $PDKPATH/libs.ref/sky130_fd_sc_hd/gds/sky130_fd_sc_hd.gds
string GDS_START 2163170
string GDS_END 2167062
string LEFsymmetry X Y R90
string path 0.000 0.000 6.900 0.000 
<< end >>
